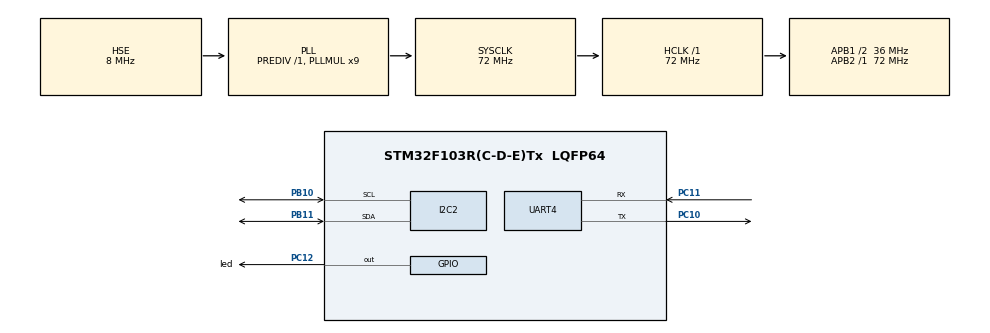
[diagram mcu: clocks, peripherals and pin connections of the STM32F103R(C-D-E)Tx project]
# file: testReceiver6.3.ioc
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Mcu.Family=STM32F1
Mcu.Name=STM32F103R(C-D-E)Tx
Mcu.Package=LQFP64
NVIC.PriorityGroup=NVIC_PRIORITYGROUP_4
NVIC.UART4_IRQn=true\:1\:0\:true\:false\:true\:true
PA13.Mode=Serial_Wire
PA13.Signal=SYS_JTMS-SWDIO
PA14.Mode=Serial_Wire
PA14.Signal=SYS_JTCK-SWCLK
PB10.Mode=I2C
PB10.Signal=I2C2_SCL
PB11.Mode=I2C
PB11.Signal=I2C2_SDA
PC10.Mode=Asynchronous
PC10.Signal=UART4_TX
PC11.Mode=Asynchronous
PC11.Signal=UART4_RX
PC12.GPIO_Label=led
PC12.Signal=GPIO_Output
PD0-OSC_IN.Mode=HSE-External-Oscillator
PD0-OSC_IN.Signal=RCC_OSC_IN
PD1-OSC_OUT.Mode=HSE-External-Oscillator
PD1-OSC_OUT.Signal=RCC_OSC_OUT
ProjectManager.HeapSize=0x200
ProjectManager.StackSize=0x400
ProjectManager.TargetToolchain=MDK-ARM V5
RCC.AHBFreq_Value=72000000
RCC.APB1CLKDivider=RCC_HCLK_DIV2
RCC.APB1Freq_Value=36000000
RCC.APB1TimFreq_Value=72000000
RCC.APB2Freq_Value=72000000
RCC.APB2TimFreq_Value=72000000
RCC.HCLKFreq_Value=72000000
RCC.PLLMUL=RCC_PLL_MUL9
RCC.PLLSourceVirtual=RCC_PLLSOURCE_HSE
RCC.SYSCLKFreq_VALUE=72000000
RCC.SYSCLKSource=RCC_SYSCLKSOURCE_PLLCLK
RCC.USBFreq_Value=72000000
UART4.VirtualMode=Asynchronous
board=testReceiver6.3

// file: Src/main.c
/**
  ******************************************************************************
  * File Name          : main.c
  * Description        : Main program body
  ******************************************************************************
  ** This notice applies to any and all portions of this file
  * that are not between comment pairs USER CODE BEGIN and
  * USER CODE END. Other portions of this file, whether
  * inserted by the user or by software development tools
  * are owned by their respective copyright owners.
  *
  * COPYRIGHT(c) 2020 STMicroelectronics
  *
  * Redistribution and use in source and binary forms, with or without modification,
  * are permitted provided that the following conditions are met:
  *   1. Redistributions of source code must retain the above copyright notice,
  *      this list of conditions and the following disclaimer.
  *   2. Redistributions in binary form must reproduce the above copyright notice,
  *      this list of conditions and the following disclaimer in the documentation
  *      and/or other materials provided with the distribution.
  *   3. Neither the name of STMicroelectronics nor the names of its contributors
  *      may be used to endorse or promote products derived from this software
  *      without specific prior written permission.
  *
  * THIS SOFTWARE IS PROVIDED BY THE COPYRIGHT HOLDERS AND CONTRIBUTORS "AS IS"
  * AND ANY EXPRESS OR IMPLIED WARRANTIES, INCLUDING, BUT NOT LIMITED TO, THE
  * IMPLIED WARRANTIES OF MERCHANTABILITY AND FITNESS FOR A PARTICULAR PURPOSE ARE
  * DISCLAIMED. IN NO EVENT SHALL THE COPYRIGHT HOLDER OR CONTRIBUTORS BE LIABLE
  * FOR ANY DIRECT, INDIRECT, INCIDENTAL, SPECIAL, EXEMPLARY, OR CONSEQUENTIAL
  * DAMAGES (INCLUDING, BUT NOT LIMITED TO, PROCUREMENT OF SUBSTITUTE GOODS OR
  * SERVICES; LOSS OF USE, DATA, OR PROFITS; OR BUSINESS INTERRUPTION) HOWEVER
  * CAUSED AND ON ANY THEORY OF LIABILITY, WHETHER IN CONTRACT, STRICT LIABILITY,
  * OR TORT (INCLUDING NEGLIGENCE OR OTHERWISE) ARISING IN ANY WAY OUT OF THE USE
  * OF THIS SOFTWARE, EVEN IF ADVISED OF THE POSSIBILITY OF SUCH DAMAGE.
  *
  ******************************************************************************
  */

#include "main.h"
#include "stm32f1xx_hal.h"

/* USER CODE BEGIN Includes */
#include "i2c-lcd.h"
#include "stdio.h"
#include <stdlib.h>
#include <string.h>
/* USER CODE END Includes */

I2C_HandleTypeDef hi2c2;

UART_HandleTypeDef huart4;

/* USER CODE BEGIN PV */
/* Private variables ---------------------------------------------------------*/
volatile char receiver[50],result[10],lcd[50];
char resultcpy[10];
volatile uint16_t speed = 0,KD=0,KI=0,KP=0;
volatile uint8_t a=0;
volatile unsigned char start =1;
/* USER CODE END PV */

void SystemClock_Config(void);
static void MX_GPIO_Init(void);
static void MX_I2C2_Init(void);
static void MX_UART4_Init(void);

/* USER CODE BEGIN PFP */
/* Private function prototypes -----------------------------------------------*/
void HAL_UART_RxCpltCallback(UART_HandleTypeDef *huart)
{
 if(huart->Instance == UART4){

	start =0;
	for (int i = 0; i < 10; i++) {
			resultcpy[i] = 0;
			result[i] = 0;
	}
	HAL_UART_Receive(&huart4,(uint8_t*)receiver,50,300);
	}
}
/* USER CODE END PFP */

int main(void)
{

  /* MCU Configuration----------------------------------------------------------*/

  /* Reset of all peripherals, Initializes the Flash interface and the Systick. */
  HAL_Init();

  /* Configure the system clock */
  SystemClock_Config();

  /* Initialize all configured peripherals */
  MX_GPIO_Init();
  MX_I2C2_Init();
  MX_UART4_Init();

  /* USER CODE BEGIN 2 */
HAL_UART_Receive_IT(&huart4,(uint8_t*)receiver,1);
lcd_init();
/* USER CODE END 2 */

  /* Infinite loop */
  /* USER CODE BEGIN WHILE */
  while (1)
  {
			while(start==1){
			HAL_GPIO_TogglePin(led_GPIO_Port,led_Pin);
			HAL_Delay(100);
			lcd_goto_XY(1,0);
			lcd_send_string("    running  ");
			}

			while(start==0){
        if (receiver[49] != 0) {
            for (int i = 0; i < 50; i++) {
                receiver[i] = 0;
            }
        }
        for (int i = 0; i <= 50; i++) {
            if (receiver[i] == ':') {

                result[0] = receiver[i + 4];
                resultcpy[0] = receiver[i + 4];
                result[1] = receiver[i + 5];
                resultcpy[1] = receiver[i + 5];
                result[2] = receiver[i + 6];
                resultcpy[2] = receiver[i + 6];
                result[3] = receiver[i + 7];
                resultcpy[3] = receiver[i + 7];

                if (receiver[i - 1] == ' ') {
                    a = 1;
                }
                else if (receiver[i - 1] == 'D') {
                    a = 2;
                }
                else if (receiver[i - 1] == 'I') {
                    a = 3;
                }
                else if (receiver[i - 1] == 'P') {
                    a = 4;
                }
                else a = 0;
            }
        }
        if (a == 1) {
            if (atoi(resultcpy) != 0) {
                speed = atoi(resultcpy);
								lcd_init();
                sprintf(lcd, "  speed: %d       ", speed);
                lcd_goto_XY(2, 0);
                lcd_send_string(lcd);
								HAL_Delay(500);
            }
        }
        else if (a == 2) {
            if (atoi(resultcpy) != 0) {
                KD = atoi(resultcpy);
                sprintf(lcd, "    KD: %d           ", KD);
								lcd_init();
                lcd_goto_XY(2, 0);
                lcd_send_string(lcd);
								HAL_Delay(500);
            }
        }
        else if (a == 3) {
            if (atoi(resultcpy) != 0) {
                KI = atoi(resultcpy);
								lcd_init();
                sprintf(lcd, "    KI: %d           ", KI);
                lcd_goto_XY(2, 0);
                lcd_send_string(lcd);
            }
        }
        else if (a == 4) {
            if (atoi(resultcpy) != 0) {
                KP = atoi(resultcpy);
								lcd_init();
                sprintf(lcd, "    KP: %d            ", KP);
                lcd_goto_XY(2, 0);
                lcd_send_string(lcd);
            }
        }

				HAL_UART_Receive_IT(&huart4,(uint8_t*)receiver,1);
				start=1;
		}
	}
  /* USER CODE END WHILE */

}

/** System Clock Configuration
*/
void SystemClock_Config(void)
{

  RCC_OscInitTypeDef RCC_OscInitStruct;
  RCC_ClkInitTypeDef RCC_ClkInitStruct;

    /**Initializes the CPU, AHB and APB busses clocks
    */
  RCC_OscInitStruct.OscillatorType = RCC_OSCILLATORTYPE_HSE;
  RCC_OscInitStruct.HSEState = RCC_HSE_ON;
  RCC_OscInitStruct.HSEPredivValue = RCC_HSE_PREDIV_DIV1;
  RCC_OscInitStruct.HSIState = RCC_HSI_ON;
  RCC_OscInitStruct.PLL.PLLState = RCC_PLL_ON;
  RCC_OscInitStruct.PLL.PLLSource = RCC_PLLSOURCE_HSE;
  RCC_OscInitStruct.PLL.PLLMUL = RCC_PLL_MUL9;
  if (HAL_RCC_OscConfig(&RCC_OscInitStruct) != HAL_OK)
  {
    _Error_Handler(__FILE__, __LINE__);
  }

    /**Initializes the CPU, AHB and APB busses clocks
    */
  RCC_ClkInitStruct.ClockType = RCC_CLOCKTYPE_HCLK|RCC_CLOCKTYPE_SYSCLK
                              |RCC_CLOCKTYPE_PCLK1|RCC_CLOCKTYPE_PCLK2;
  RCC_ClkInitStruct.SYSCLKSource = RCC_SYSCLKSOURCE_PLLCLK;
  RCC_ClkInitStruct.AHBCLKDivider = RCC_SYSCLK_DIV1;
  RCC_ClkInitStruct.APB1CLKDivider = RCC_HCLK_DIV2;
  RCC_ClkInitStruct.APB2CLKDivider = RCC_HCLK_DIV1;

  if (HAL_RCC_ClockConfig(&RCC_ClkInitStruct, FLASH_LATENCY_2) != HAL_OK)
  {
    _Error_Handler(__FILE__, __LINE__);
  }

    /**Configure the Systick interrupt time
    */
  HAL_SYSTICK_Config(HAL_RCC_GetHCLKFreq()/1000);

    /**Configure the Systick
    */
  HAL_SYSTICK_CLKSourceConfig(SYSTICK_CLKSOURCE_HCLK);

  /* SysTick_IRQn interrupt configuration */
  HAL_NVIC_SetPriority(SysTick_IRQn, 0, 0);
}

/* I2C2 init function */
static void MX_I2C2_Init(void)
{

  hi2c2.Instance = I2C2;
  hi2c2.Init.ClockSpeed = 100000;
  hi2c2.Init.DutyCycle = I2C_DUTYCYCLE_2;
  hi2c2.Init.OwnAddress1 = 0;
  hi2c2.Init.AddressingMode = I2C_ADDRESSINGMODE_7BIT;
  hi2c2.Init.DualAddressMode = I2C_DUALADDRESS_DISABLE;
  hi2c2.Init.OwnAddress2 = 0;
  hi2c2.Init.GeneralCallMode = I2C_GENERALCALL_DISABLE;
  hi2c2.Init.NoStretchMode = I2C_NOSTRETCH_DISABLE;
  if (HAL_I2C_Init(&hi2c2) != HAL_OK)
  {
    _Error_Handler(__FILE__, __LINE__);
  }

}

/* UART4 init function */
static void MX_UART4_Init(void)
{

  huart4.Instance = UART4;
  huart4.Init.BaudRate = 115200;
  huart4.Init.WordLength = UART_WORDLENGTH_8B;
  huart4.Init.StopBits = UART_STOPBITS_1;
  huart4.Init.Parity = UART_PARITY_NONE;
  huart4.Init.Mode = UART_MODE_TX_RX;
  huart4.Init.HwFlowCtl = UART_HWCONTROL_NONE;
  huart4.Init.OverSampling = UART_OVERSAMPLING_16;
  if (HAL_UART_Init(&huart4) != HAL_OK)
  {
    _Error_Handler(__FILE__, __LINE__);
  }

}

/** Configure pins as
        * Analog
        * Input
        * Output
        * EVENT_OUT
        * EXTI
*/
static void MX_GPIO_Init(void)
{

  GPIO_InitTypeDef GPIO_InitStruct;

  /* GPIO Ports Clock Enable */
  __HAL_RCC_GPIOD_CLK_ENABLE();
  __HAL_RCC_GPIOB_CLK_ENABLE();
  __HAL_RCC_GPIOA_CLK_ENABLE();
  __HAL_RCC_GPIOC_CLK_ENABLE();

  /*Configure GPIO pin Output Level */
  HAL_GPIO_WritePin(led_GPIO_Port, led_Pin, GPIO_PIN_RESET);

  /*Configure GPIO pin : led_Pin */
  GPIO_InitStruct.Pin = led_Pin;
  GPIO_InitStruct.Mode = GPIO_MODE_OUTPUT_PP;
  GPIO_InitStruct.Speed = GPIO_SPEED_FREQ_LOW;
  HAL_GPIO_Init(led_GPIO_Port, &GPIO_InitStruct);

}

void _Error_Handler(char * file, int line)
{
  while(1)
  {
  }
}

/************************ (C) COPYRIGHT STMicroelectronics *****END OF FILE****/
